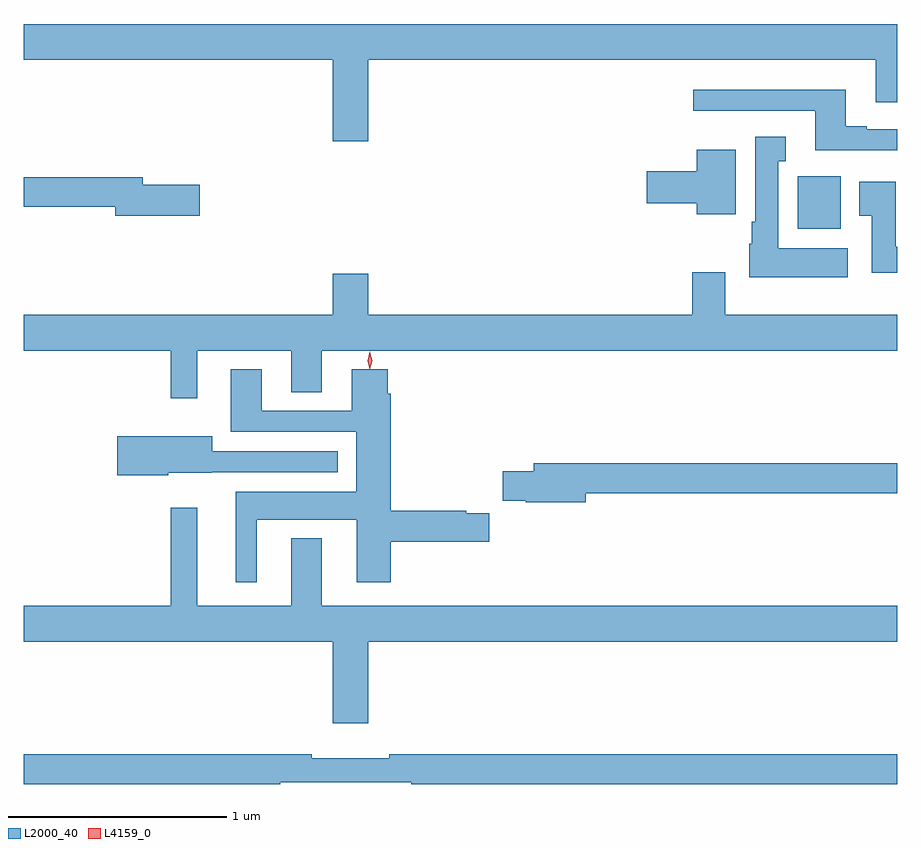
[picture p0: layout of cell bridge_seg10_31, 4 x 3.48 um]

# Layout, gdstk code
import gdstk
lib = gdstk.Library(unit=1e-6, precision=1e-09)
def R(c, l, rs):  # rectangles x0, y0, x1, y1
    for r in rs: c.add(gdstk.rectangle(r[:2], r[2:], *l))
def P(c, l, *ps):  # polygons
    for p in ps: c.add(gdstk.Polygon(p, *l))
L2000_40 = (2000, 40)
L4159_0 = (4159, 0)

bridge_seg10_31 = lib.new_cell('bridge_seg10_31')
R(bridge_seg10_31, L2000_40, [(946.358,1294.214,946.555,1294.456)])
P(bridge_seg10_31, L2000_40, [(944.392,1294.988),(946.715,1294.988),(946.715,1294.794),(946.814,1294.794),(946.814,1295.152),(942.814,1295.152),(942.814,1294.988),(944.228,1294.988),(944.228,1294.614),(944.392,1294.614)],
  [(946.814,1294.671),(946.675,1294.671),(946.675,1294.684),(946.579,1294.684),(946.579,1294.852),(945.879,1294.852),(945.879,1294.755),(946.439,1294.755),(946.439,1294.574),(946.814,1294.574)],
  [(946.588,1294.126),(946.27,1294.126),(946.27,1294.523),(946.303,1294.523),(946.303,1294.636),(946.163,1294.636),(946.163,1294.246),(946.148,1294.246),(946.148,1294.146),(946.136,1294.146),(946.136,1293.992),(946.588,1293.992)],
  [(946.075,1294.576),(945.896,1294.576),(945.896,1294.478),(945.666,1294.478),(945.666,1294.331),(945.896,1294.331),(945.896,1294.28),(946.075,1294.28)],
  [(943.621,1294.415),(943.36,1294.415),(943.36,1294.451),(942.814,1294.451),(942.814,1294.315),(943.232,1294.315),(943.232,1294.273),(943.621,1294.273)],
  [(946.814,1294.132),(946.807,1294.132),(946.807,1294.429),(946.64,1294.429),(946.64,1294.273),(946.697,1294.273),(946.697,1294.014),(946.814,1294.014)],
  [(943.609,1293.656),(944.039,1293.656),(944.039,1293.466),(944.179,1293.466),(944.179,1293.656),(946.814,1293.656),(946.814,1293.82),(946.027,1293.82),(946.027,1294.015),(945.875,1294.015),(945.875,1293.82),(944.392,1293.82),(944.392,1294.009),(944.228,1294.009),(944.228,1293.82),(942.814,1293.82),(942.814,1293.656),(943.488,1293.656),(943.488,1293.438),(943.609,1293.438)],
  [(943.882,1292.882),(944.339,1292.882),(944.339,1292.595),(944.495,1292.595),(944.495,1292.782),(944.945,1292.782),(944.945,1292.912),(944.84,1292.912),(944.84,1292.924),(944.495,1292.924),(944.495,1293.458),(944.482,1293.458),(944.482,1293.571),(944.315,1293.571),(944.315,1293.381),(943.903,1293.381),(943.903,1293.571),(943.763,1293.571),(943.763,1293.285),(944.336,1293.285),(944.336,1293.01),(943.784,1293.01),(943.784,1292.595),(943.882,1292.595)],
  [(943.476,1293.098),(943.674,1293.098),(943.674,1293.099),(944.251,1293.099),(944.251,1293.195),(943.678,1293.195),(943.678,1293.264),(943.242,1293.264),(943.242,1293.086),(943.476,1293.086)],
  [(945.388,1293.004),(946.814,1293.004),(946.814,1293.14),(945.149,1293.14),(945.149,1293.104),(945.007,1293.104),(945.007,1292.97),(945.112,1292.97),(945.112,1292.962),(945.388,1292.962)],
  [(944.392,1292.324),(946.814,1292.324),(946.814,1292.488),(944.179,1292.488),(944.179,1292.797),(944.039,1292.797),(944.039,1292.488),(943.609,1292.488),(943.609,1292.938),(943.488,1292.938),(943.488,1292.488),(942.814,1292.488),(942.814,1292.324),(944.228,1292.324),(944.228,1291.95),(944.392,1291.95)],
  [(943.988,1291.68),(944.588,1291.68),(944.588,1291.672),(946.814,1291.672),(946.814,1291.808),(944.488,1291.808),(944.488,1291.789),(944.132,1291.789),(944.132,1291.808),(942.814,1291.808),(942.814,1291.672),(943.988,1291.672)])
P(bridge_seg10_31, L4159_0, [(944.398,1293.57),(944.389,1293.611),(944.399,1293.652),(944.399,1293.652),(944.399,1293.652),(944.409,1293.611),(944.399,1293.57),(944.399,1293.57)])

lib.write_gds('bridge_seg10_31.gds')
